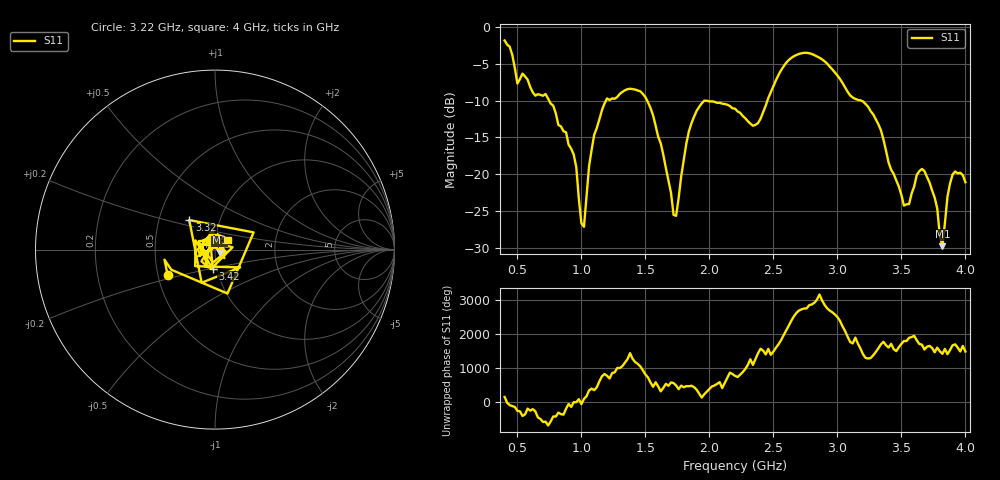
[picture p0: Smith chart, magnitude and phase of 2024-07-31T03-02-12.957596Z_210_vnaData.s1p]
!Created with skrf (http://scikit-rf.org).
# Hz S RI R 50.0
!freq ReS11 ImS11
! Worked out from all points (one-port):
!   181 points, 400 MHz to 4 GHz, reference 50 ohm
!   lowest |S11| = -29.8 dB at 3.82 GHz (marker M1), VSWR 1.07, Z = 52.8 - j1.84 ohm
!   |S11| at or under -10 dB: 747.5 MHz to 1.192 GHz (444.4 MHz wide, 45.8 % of centre); 1.513 GHz to 2.454 GHz (940.5 MHz wide, 47.4 % of centre); 3.183 GHz to end of sweep
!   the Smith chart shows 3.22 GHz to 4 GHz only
!   S11 on the Smith chart (normalised r, x): 3.22 GHz: 0.56, -0.18; 3.32 GHz: 0.71, +0.25; 3.42 GHz: 0.95, -0.20; 4 GHz: 1.14, +0.12
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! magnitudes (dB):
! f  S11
! 400 MHz  -1.8
! 500 MHz  -7.7
! 720 MHz  -9.1
! 860 MHz  -14.2
! 940 MHz  -17.3
! 1.02 GHz  -27.1
! 1.1 GHz  -14.6
! 1.3 GHz  -9.1
! 1.5 GHz  -9.5
! 1.62 GHz  -15.8
! 1.72 GHz  -25.5
! 1.76 GHz  -23.2
! 1.82 GHz  -15.8
! 1.9 GHz  -11.4
! 2.2 GHz  -11.1
! 2.38 GHz  -13.1
! 2.66 GHz  -4.0
! 2.88 GHz  -4.4
! 3.1 GHz  -9.3
! 3.22 GHz  -10.5
! 3.32 GHz  -13.2
! 3.42 GHz  -19.4
! 3.56 GHz  -24.1
! 3.68 GHz  -19.6
! 3.76 GHz  -23.2
! 3.82 GHz  -29.8
! 3.9 GHz  -20.0
! 4 GHz  -21.1
